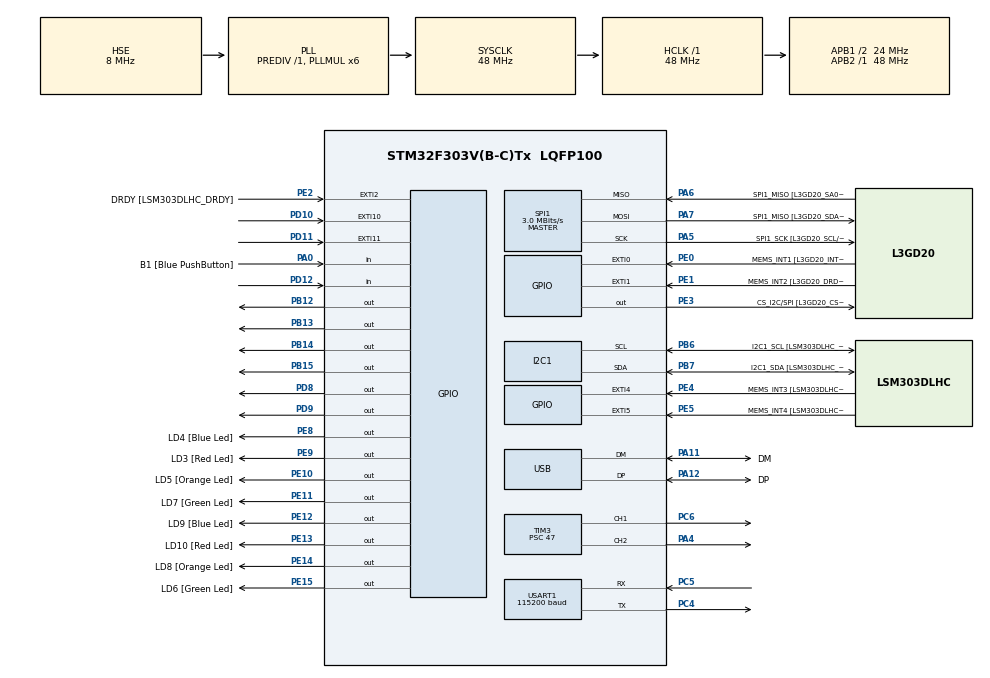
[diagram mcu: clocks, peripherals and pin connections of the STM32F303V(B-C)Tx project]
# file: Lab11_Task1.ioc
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I2C1.Timing=0x00201D2B
I2C1.Timing-I2C=0x2000090E
Mcu.Family=STM32F3
Mcu.Name=STM32F303V(B-C)Tx
Mcu.Package=LQFP100
NVIC.PriorityGroup=NVIC_PRIORITYGROUP_0
NVIC.TIM2_IRQn=true\:0\:0\:false\:false\:true\:true\:true\:true
NVIC.TIM3_IRQn=true\:0\:0\:false\:false\:true\:true\:true\:true
NVIC.USART1_IRQn=true\:0\:0\:false\:false\:true\:true\:true\:true
NVIC.USB_LP_CAN_RX0_IRQn=true\:0\:0\:false\:false\:true\:false\:true\:true
PA0.GPIO_Label=B1 [Blue PushButton]
PA0.Signal=GPIO_Input
PA11.GPIO_Label=DM
PA11.Mode=Device
PA11.Signal=USB_DM
PA12.GPIO_Label=DP
PA12.Mode=Device
PA12.Signal=USB_DP
PA13.GPIO_Label=SWDIO
PA13.Mode=Serial_Wire
PA13.Signal=SYS_JTMS-SWDIO
PA14.GPIO_Label=SWCLK
PA14.Mode=Serial_Wire
PA14.Signal=SYS_JTCK-SWCLK
PA4.Signal=S_TIM3_CH2
PA5.GPIO_Label=SPI1_SCK [L3GD20_SCL/SPC]
PA5.Mode=Full_Duplex_Master
PA5.Signal=SPI1_SCK
PA6.GPIO_Label=SPI1_MISO [L3GD20_SA0/SDO]
PA6.Mode=Full_Duplex_Master
PA6.Signal=SPI1_MISO
PA7.GPIO_Label=SPI1_MISO [L3GD20_SDA/SDI/SDO]
PA7.Mode=Full_Duplex_Master
PA7.Signal=SPI1_MOSI
PB12.Signal=GPIO_Output
PB13.Signal=GPIO_Output
PB14.Signal=GPIO_Output
PB15.Signal=GPIO_Output
PB3.GPIO_Label=SWO
PB3.Signal=SYS_JTDO-TRACESWO
PB6.GPIO_Label=I2C1_SCL [LSM303DLHC_SCL]
PB6.GPIO_Pu=GPIO_PULLUP
PB6.Mode=I2C
PB6.Signal=I2C1_SCL
PB7.GPIO_Label=I2C1_SDA [LSM303DLHC_SDA]
PB7.GPIO_Pu=GPIO_PULLUP
PB7.Mode=I2C
PB7.Signal=I2C1_SDA
PC14-OSC32_IN.GPIO_Label=OSC32_IN
PC14-OSC32_IN.Signal=RCC_OSC32_IN
PC15-OSC32_OUT.GPIO_Label=OSC32_OUT
PC15-OSC32_OUT.Signal=RCC_OSC32_OUT
PC4.Mode=Asynchronous
PC4.Signal=USART1_TX
PC5.Mode=Asynchronous
PC5.Signal=USART1_RX
PC6.Signal=S_TIM3_CH1
PD10.Signal=GPXTI10
PD11.Signal=GPXTI11
PD12.Signal=GPIO_Input
PD8.Signal=GPIO_Output
PD9.Signal=GPIO_Output
PE0.GPIO_Label=MEMS_INT1 [L3GD20_INT1]
PE0.GPIO_ModeDefaultEXTI=GPIO_MODE_EVT_RISING
PE0.Signal=GPXTI0
PE1.GPIO_Label=MEMS_INT2 [L3GD20_DRDY/INT2]
PE1.GPIO_ModeDefaultEXTI=GPIO_MODE_EVT_RISING
PE1.Signal=GPXTI1
PE10.GPIO_Label=LD5 [Orange Led]
PE10.Signal=GPIO_Output
PE11.GPIO_Label=LD7 [Green Led]
PE11.Signal=GPIO_Output
PE12.GPIO_Label=LD9 [Blue Led]
PE12.Signal=GPIO_Output
PE13.GPIO_Label=LD10 [Red Led]
PE13.Signal=GPIO_Output
PE14.GPIO_Label=LD8 [Orange Led]
PE14.Signal=GPIO_Output
PE15.GPIO_Label=LD6 [Green Led]
PE15.Signal=GPIO_Output
PE2.GPIO_Label=DRDY [LSM303DLHC_DRDY]
PE2.GPIO_ModeDefaultEXTI=GPIO_MODE_EVT_RISING
PE2.Signal=GPXTI2
PE3.GPIO_Label=CS_I2C/SPI [L3GD20_CS_I2C/SPI]
PE3.Signal=GPIO_Output
PE4.GPIO_Label=MEMS_INT3 [LSM303DLHC_INT1]
PE4.GPIO_ModeDefaultEXTI=GPIO_MODE_EVT_RISING
PE4.Signal=GPXTI4
PE5.GPIO_Label=MEMS_INT4 [LSM303DLHC_INT2]
PE5.GPIO_ModeDefaultEXTI=GPIO_MODE_EVT_RISING
PE5.Signal=GPXTI5
PE8.GPIO_Label=LD4 [Blue Led]
PE8.Signal=GPIO_Output
PE9.GPIO_Label=LD3 [Red Led]
PE9.Signal=GPIO_Output
PF0-OSC_IN.GPIO_Label=OSC_IN
PF0-OSC_IN.Mode=HSE-External-Clock-Source
PF0-OSC_IN.Signal=RCC_OSC_IN
PF1-OSC_OUT.GPIO_Label=OSC_OUT
PF1-OSC_OUT.Signal=RCC_OSC_OUT
ProjectManager.HeapSize=0x200
ProjectManager.StackSize=0x400
ProjectManager.TargetToolchain=CMake
RCC.AHBFreq_Value=48000000
RCC.APB1CLKDivider=RCC_HCLK_DIV2
RCC.APB1Freq_Value=24000000
RCC.APB1TimFreq_Value=48000000
RCC.APB2Freq_Value=48000000
RCC.APB2TimFreq_Value=48000000
RCC.CortexFreq_Value=48000000
RCC.HCLKFreq_Value=48000000
RCC.HSE_VALUE=8000000
RCC.HSI_VALUE=8000000
RCC.LSE_VALUE=32768
RCC.PLLMUL=RCC_PLL_MUL6
RCC.SYSCLKFreq_VALUE=48000000
RCC.SYSCLKSourceVirtual=RCC_SYSCLKSOURCE_PLLCLK
RCC.USBFreq_Value=48000000
SH.S_TIM3_CH1.0=TIM3_CH1,PWM Generation1 CH1
SH.S_TIM3_CH2.0=TIM3_CH2,PWM Generation2 CH2
SPI1.BaudRatePrescaler=SPI_BAUDRATEPRESCALER_16
SPI1.BaudRatePrescaler-Full_Duplex_Master=SPI_BAUDRATEPRESCALER_2
SPI1.CLKPhase=SPI_PHASE_2EDGE
SPI1.CLKPolarity=SPI_POLARITY_HIGH
SPI1.CalculateBaudRate=3.0 MBits/s
SPI1.CalculateBaudRate-Full_Duplex_Master=24.0 MBits/s
SPI1.DataSize=SPI_DATASIZE_8BIT
SPI1.Direction=SPI_DIRECTION_2LINES
SPI1.Mode=SPI_MODE_MASTER
SPI1.Mode-Full_Duplex_Master=SPI_MODE_MASTER
SPI1.VirtualType=VM_MASTER
TIM2.Period=4999
TIM2.Prescaler=47
TIM3.Channel-PWM\ Generation1\ CH1=TIM_CHANNEL_1
TIM3.Channel-PWM\ Generation2\ CH2=TIM_CHANNEL_2
TIM3.Period=999
TIM3.Prescaler=47
USART1.BaudRate=115200
USART1.VirtualMode-Asynchronous=VM_ASYNC
USB_DEVICE.CLASS_NAME_FS=CDC
USB_DEVICE.VirtualMode=Cdc
USB_DEVICE.VirtualModeFS=Cdc_FS
VP_TIM2_VS_ClockSourceINT.Mode=Internal
VP_TIM3_VS_ClockSourceINT.Mode=Internal
VP_USB_DEVICE_VS_USB_DEVICE_CDC_FS.Mode=CDC_FS
board=STM32F3DISCOVERY

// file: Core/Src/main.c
/* USER CODE BEGIN Header */
/**
  ******************************************************************************
  * @file    main.c
  * @brief   Self-Balancing Robot - top-level orchestrator
  *
  *          All control logic (IMU, filter, PID, motors, encoders) lives in
  *          control.c / control.h. This file handles peripheral init,
  *          interrupt dispatch, and UART logging only.
  *
  *          TIM2 = 200 Hz control loop ISR
  *          TIM3 = PWM for motors (CH1=PC6 left, CH2=PA4 right)
  *          PD10 / PD11 = encoder EXTI inputs
  ******************************************************************************
  */
/* USER CODE END Header */
#include "main.h"
#include "usb_device.h"
#include "math.h"
/* USER CODE BEGIN Includes */
#include "control.h"
#include <stdio.h>
#include <string.h>
/* USER CODE END Includes */

I2C_HandleTypeDef hi2c1;

SPI_HandleTypeDef hspi1;

TIM_HandleTypeDef htim2;
TIM_HandleTypeDef htim3;

UART_HandleTypeDef huart1;

/* USER CODE BEGIN PV */
volatile uint8_t display_flag = 0;
/* USER CODE END PV */

void SystemClock_Config(void);
static void MX_GPIO_Init(void);
static void MX_I2C1_Init(void);
static void MX_SPI1_Init(void);
static void MX_TIM3_Init(void);
static void MX_USART1_UART_Init(void);
static void MX_TIM2_Init(void);

/* USER CODE BEGIN 0 */

/* Peripheral handles (set in Control_Init) */
static I2C_HandleTypeDef *ctrl_hi2c = NULL;
static SPI_HandleTypeDef *ctrl_hspi = NULL;
static TIM_HandleTypeDef *ctrl_htim = NULL;

/* Filter and PID state (persist across ISR calls) */
static float tilt_angle = 0.0f;
static float integral   = 0.0f;
static float prev_error = 0.0f;

/* Encoder counters (volatile - modified in EXTI ISR) */
static volatile int32_t encoder_left  = 0;
static volatile int32_t encoder_right = 0;
static volatile int8_t  motor_dir     = 0;  // +1 fwd, -1 bwd, 0 stop

/* Latest telemetry snapshot for main loop */
static volatile Control_Telemetry_t telemetry = {0};

/* ============================================================
 *  IMU Drivers
 * ============================================================ */

/* Gyro register addresses */
#define GYRO_REG_CTRL1    0x20
#define GYRO_REG_OUT_Y_L  0x2A
#define GYRO_REG_OUT_Y_H  0x2B

/* Accel register addresses (LSM303DLHC at I2C addr 0x32 write) */
#define ACC_I2C_ADDR      0x32
#define ACC_REG_CTRL1     0x20
#define ACC_REG_OUT_X_L   0x28
#define ACC_AUTO_INC      0x80

static void Gyro_WriteReg(uint8_t reg, uint8_t data) {
    uint8_t tx[2] = { reg & 0x7F, data };  // bit 7 = 0 -> write
    HAL_GPIO_WritePin(GPIOE, GPIO_PIN_3, GPIO_PIN_RESET);  // CS low
    HAL_SPI_Transmit(ctrl_hspi, tx, 2, HAL_MAX_DELAY);
    HAL_GPIO_WritePin(GPIOE, GPIO_PIN_3, GPIO_PIN_SET);    // CS high
}

static uint8_t Gyro_ReadReg(uint8_t reg) {
    uint8_t tx = reg | 0x80;  // bit 7 = 1 -> read
    uint8_t rx;
    HAL_GPIO_WritePin(GPIOE, GPIO_PIN_3, GPIO_PIN_RESET);
    HAL_SPI_Transmit(ctrl_hspi, &tx, 1, HAL_MAX_DELAY);
    HAL_SPI_Receive (ctrl_hspi, &rx, 1, HAL_MAX_DELAY);
    HAL_GPIO_WritePin(GPIOE, GPIO_PIN_3, GPIO_PIN_SET);
    return rx;
}

/* ============================================================
 *  Motor Drivers (L298N-style H-bridge)
 *
 *  Left  motor: PWM on TIM3_CH1 (PC6), IN1=PB12, IN2=PB13
 *  Right motor: PWM on TIM3_CH2 (PA4), IN1=PB14, IN2=PB15
 * ============================================================ */

static void Motor_Left_Forward(uint16_t speed) {
    HAL_GPIO_WritePin(GPIOB, GPIO_PIN_12, GPIO_PIN_SET);
    HAL_GPIO_WritePin(GPIOB, GPIO_PIN_13, GPIO_PIN_RESET);
    __HAL_TIM_SET_COMPARE(ctrl_htim, TIM_CHANNEL_1, speed);
}

static void Motor_Left_Backward(uint16_t speed) {
    HAL_GPIO_WritePin(GPIOB, GPIO_PIN_12, GPIO_PIN_RESET);
    HAL_GPIO_WritePin(GPIOB, GPIO_PIN_13, GPIO_PIN_SET);
    __HAL_TIM_SET_COMPARE(ctrl_htim, TIM_CHANNEL_1, speed);
}

static void Motor_Left_Stop(void) {
    HAL_GPIO_WritePin(GPIOB, GPIO_PIN_12, GPIO_PIN_RESET);
    HAL_GPIO_WritePin(GPIOB, GPIO_PIN_13, GPIO_PIN_RESET);
    __HAL_TIM_SET_COMPARE(ctrl_htim, TIM_CHANNEL_1, 0);
}

static void Motor_Right_Forward(uint16_t speed) {
    HAL_GPIO_WritePin(GPIOB, GPIO_PIN_14, GPIO_PIN_SET);
    HAL_GPIO_WritePin(GPIOB, GPIO_PIN_15, GPIO_PIN_RESET);
    __HAL_TIM_SET_COMPARE(ctrl_htim, TIM_CHANNEL_2, speed);
}

static void Motor_Right_Backward(uint16_t speed) {
    HAL_GPIO_WritePin(GPIOB, GPIO_PIN_14, GPIO_PIN_RESET);
    HAL_GPIO_WritePin(GPIOB, GPIO_PIN_15, GPIO_PIN_SET);
    __HAL_TIM_SET_COMPARE(ctrl_htim, TIM_CHANNEL_2, speed);
}

static void Motor_Right_Stop(void) {
    HAL_GPIO_WritePin(GPIOB, GPIO_PIN_14, GPIO_PIN_RESET);
    HAL_GPIO_WritePin(GPIOB, GPIO_PIN_15, GPIO_PIN_RESET);
    __HAL_TIM_SET_COMPARE(ctrl_htim, TIM_CHANNEL_2, 0);
}

/* Drive both motors. Updates motor_dir for encoder pulse signing. */
static void Motors_Drive(float pid_output) {
    uint16_t pwm;

    if (pid_output > 0.0f) {
        if (pid_output > PID_OUT_MAX) pid_output = PID_OUT_MAX;
        pwm = (uint16_t)pid_output;
        Motor_Left_Forward(pwm);
        Motor_Right_Forward(pwm);
        motor_dir = +1;
    }
    else if (pid_output < 0.0f) {
        float abs_out = -pid_output;
        if (abs_out > PID_OUT_MAX) abs_out = PID_OUT_MAX;
        pwm = (uint16_t)abs_out;
        Motor_Left_Backward(pwm);
        Motor_Right_Backward(pwm);
        motor_dir = -1;
    }
    else {
        Motor_Left_Stop();
        Motor_Right_Stop();
        motor_dir = 0;
    }
}

/* ============================================================
 *  Public API
 * ============================================================ */

void Control_Init(I2C_HandleTypeDef *hi2c,
                  SPI_HandleTypeDef *hspi,
                  TIM_HandleTypeDef *htim)
{
    ctrl_hi2c = hi2c;
    ctrl_hspi = hspi;
    ctrl_htim = htim;

    /* --- Configure gyro: 200 Hz ODR, normal mode, X/Y/Z enabled --- */
    Gyro_WriteReg(GYRO_REG_CTRL1, 0x4F);

    /* --- Configure accel: 100 Hz ODR, normal mode, X/Y/Z enabled --- */
    uint8_t acc_init[2] = { ACC_REG_CTRL1, 0x57 };
    HAL_I2C_Master_Transmit(ctrl_hi2c, ACC_I2C_ADDR, acc_init, 2, 50);

    /* --- Start motor PWM channels at 0 --- */
    HAL_TIM_PWM_Start(ctrl_htim, TIM_CHANNEL_1);
    HAL_TIM_PWM_Start(ctrl_htim, TIM_CHANNEL_2);
    __HAL_TIM_SET_COMPARE(ctrl_htim, TIM_CHANNEL_1, 0);
    __HAL_TIM_SET_COMPARE(ctrl_htim, TIM_CHANNEL_2, 0);

    /* --- Reset internal state --- */
    tilt_angle    = 0.0f;
    integral      = 0.0f;
    prev_error    = 0.0f;
    encoder_left  = 0;
    encoder_right = 0;
    motor_dir     = 0;
}

void Control_RunStep(void) {

    /* --- 1. Read gyroscope (Y-axis = pitch rate) --- */
    uint8_t y_low  = Gyro_ReadReg(GYRO_REG_OUT_Y_L);
    uint8_t y_high = Gyro_ReadReg(GYRO_REG_OUT_Y_H);
    int16_t raw_y  = (int16_t)((y_high << 8) | y_low);
    float gyro_y_dps = (float)raw_y * 0.00875f;   // 245 dps full scale

    /* --- 2. Read accelerometer (X and Z for pitch) --- */
    uint8_t reg = ACC_REG_OUT_X_L | ACC_AUTO_INC;
    uint8_t buf[6] = {0};
    HAL_I2C_Master_Transmit(ctrl_hi2c, ACC_I2C_ADDR, &reg, 1, 10);
    HAL_I2C_Master_Receive (ctrl_hi2c, ACC_I2C_ADDR | 0x01, buf, 6, 10);
    int16_t acc_x = (int16_t)((buf[1] << 8) | buf[0]);
    int16_t acc_z = (int16_t)((buf[5] << 8) | buf[4]);
    float acc_angle_deg = atan2f((float)acc_x, (float)acc_z) * (180.0f / 3.14159f);

    /* --- 3. Complementary filter: fuse gyro + accel --- */
    tilt_angle = COMP_GYRO_WEIGHT * (tilt_angle + gyro_y_dps * DT)
               + COMP_ACC_WEIGHT  * acc_angle_deg;

    /* --- 4. Encoder position feedback --- */
    float position = (float)(encoder_left + encoder_right) * 0.5f;

    float position_bias = POSITION_KP * position;
    if (position_bias > POSITION_BIAS_MAX) position_bias = POSITION_BIAS_MAX;
    if (position_bias < POSITION_BIAS_MIN) position_bias = POSITION_BIAS_MIN;

    /* If robot rolled forward (+ position), bias setpoint to lean back */
    float effective_setpoint = SETPOINT_BASE - position_bias;

    /* --- 5. PID controller --- */
    float error = tilt_angle - effective_setpoint;

    float p_term = KP * error;

    integral += KI * error * DT;
    if (integral > INTEGRAL_MAX) integral = INTEGRAL_MAX;
    if (integral < INTEGRAL_MIN) integral = INTEGRAL_MIN;

    float derivative = (error - prev_error) / DT;
    float d_term = KD * derivative;
    prev_error = error;

    float pid_output = p_term + integral + d_term;
    if (pid_output > PID_OUT_MAX) pid_output = PID_OUT_MAX;
    if (pid_output < PID_OUT_MIN) pid_output = PID_OUT_MIN;

    /* --- 6. Drive motors (also updates motor_dir for encoder ISR) --- */
    Motors_Drive(pid_output);

    /* --- 7. Update telemetry snapshot --- */
    telemetry.angle              = tilt_angle;
    telemetry.acc_angle          = acc_angle_deg;
    telemetry.gyro_rate          = gyro_y_dps;
    telemetry.effective_setpoint = effective_setpoint;
    telemetry.position           = position;
    telemetry.pid_output         = pid_output;
    telemetry.error              = error;
}

void Control_GetTelemetry(Control_Telemetry_t *out) {
    *out = *(Control_Telemetry_t *)&telemetry;
}

void Control_ResetEncoders(void) {
    encoder_left  = 0;
    encoder_right = 0;
}

void Control_OnEncoderPulse(uint16_t GPIO_Pin) {
    if (GPIO_Pin == GPIO_PIN_10) {
        encoder_left += motor_dir;
    }
    else if (GPIO_Pin == GPIO_PIN_11) {
        encoder_right += motor_dir;
    }
}

/* USER CODE END 0 */

int main(void)
{

  /* MCU Configuration--------------------------------------------------------*/

  /* Reset of all peripherals, Initializes the Flash interface and the Systick. */
  HAL_Init();

  /* Configure the system clock */
  SystemClock_Config();

  /* Initialize all configured peripherals */
  MX_GPIO_Init();
  MX_I2C1_Init();
  MX_SPI1_Init();
  MX_TIM3_Init();
  MX_USART1_UART_Init();
  MX_USB_DEVICE_Init();
  MX_TIM2_Init();
  /* USER CODE BEGIN 2 */

  /* Initialize all control subsystems */
  Control_Init(&hi2c1, &hspi1, &htim3);

  /* Print startup banner */
  char *msg = "\r\n=== Self-Balancing Robot ===\r\n"
              "Format: angle, setpoint, position, pid_out\r\n\r\n";
  HAL_UART_Transmit(&huart1, (uint8_t*)msg, strlen(msg), HAL_MAX_DELAY);

  /* Reset encoder counts (robot is at "home") */
  Control_ResetEncoders();

  /* Start the 200 Hz control ISR */
  HAL_TIM_Base_Start_IT(&htim2);

  HAL_Delay(100);

  /* USER CODE END 2 */

  /* Infinite loop */
  /* USER CODE BEGIN WHILE */
  while (1)
  {
      if (display_flag) {
          display_flag = 0;

          Control_Telemetry_t t;
          Control_GetTelemetry(&t);

          char buf[100];
          int len = sprintf(buf, "%.2f,%.2f,%.2f,%.2f\r\n",
                            t.angle, t.effective_setpoint,
                            t.position, t.pid_output);
          HAL_UART_Transmit(&huart1, (uint8_t*)buf, len, HAL_MAX_DELAY);
      }
  }
    /* USER CODE END WHILE */

}

void SystemClock_Config(void)
{
  RCC_OscInitTypeDef RCC_OscInitStruct = {0};
  RCC_ClkInitTypeDef RCC_ClkInitStruct = {0};
  RCC_PeriphCLKInitTypeDef PeriphClkInit = {0};

  /** Initializes the RCC Oscillators according to the specified parameters
  * in the RCC_OscInitTypeDef structure.
  */
  RCC_OscInitStruct.OscillatorType = RCC_OSCILLATORTYPE_HSI|RCC_OSCILLATORTYPE_HSE;
  RCC_OscInitStruct.HSEState = RCC_HSE_BYPASS;
  RCC_OscInitStruct.HSEPredivValue = RCC_HSE_PREDIV_DIV1;
  RCC_OscInitStruct.HSIState = RCC_HSI_ON;
  RCC_OscInitStruct.HSICalibrationValue = RCC_HSICALIBRATION_DEFAULT;
  RCC_OscInitStruct.PLL.PLLState = RCC_PLL_ON;
  RCC_OscInitStruct.PLL.PLLSource = RCC_PLLSOURCE_HSE;
  RCC_OscInitStruct.PLL.PLLMUL = RCC_PLL_MUL6;
  if (HAL_RCC_OscConfig(&RCC_OscInitStruct) != HAL_OK)
  {
    Error_Handler();
  }

  /** Initializes the CPU, AHB and APB buses clocks
  */
  RCC_ClkInitStruct.ClockType = RCC_CLOCKTYPE_HCLK|RCC_CLOCKTYPE_SYSCLK
                              |RCC_CLOCKTYPE_PCLK1|RCC_CLOCKTYPE_PCLK2;
  RCC_ClkInitStruct.SYSCLKSource = RCC_SYSCLKSOURCE_PLLCLK;
  RCC_ClkInitStruct.AHBCLKDivider = RCC_SYSCLK_DIV1;
  RCC_ClkInitStruct.APB1CLKDivider = RCC_HCLK_DIV2;
  RCC_ClkInitStruct.APB2CLKDivider = RCC_HCLK_DIV1;

  if (HAL_RCC_ClockConfig(&RCC_ClkInitStruct, FLASH_LATENCY_1) != HAL_OK)
  {
    Error_Handler();
  }
  PeriphClkInit.PeriphClockSelection = RCC_PERIPHCLK_USB|RCC_PERIPHCLK_USART1
                              |RCC_PERIPHCLK_I2C1;
  PeriphClkInit.Usart1ClockSelection = RCC_USART1CLKSOURCE_PCLK2;
  PeriphClkInit.I2c1ClockSelection = RCC_I2C1CLKSOURCE_HSI;
  PeriphClkInit.USBClockSelection = RCC_USBCLKSOURCE_PLL;
  if (HAL_RCCEx_PeriphCLKConfig(&PeriphClkInit) != HAL_OK)
  {
    Error_Handler();
  }
}

static void MX_I2C1_Init(void)
{

  hi2c1.Instance = I2C1;
  hi2c1.Init.Timing = 0x00201D2B;
  hi2c1.Init.OwnAddress1 = 0;
  hi2c1.Init.AddressingMode = I2C_ADDRESSINGMODE_7BIT;
  hi2c1.Init.DualAddressMode = I2C_DUALADDRESS_DISABLE;
  hi2c1.Init.OwnAddress2 = 0;
  hi2c1.Init.OwnAddress2Masks = I2C_OA2_NOMASK;
  hi2c1.Init.GeneralCallMode = I2C_GENERALCALL_DISABLE;
  hi2c1.Init.NoStretchMode = I2C_NOSTRETCH_DISABLE;
  if (HAL_I2C_Init(&hi2c1) != HAL_OK)
  {
    Error_Handler();
  }

  /** Configure Analogue filter
  */
  if (HAL_I2CEx_ConfigAnalogFilter(&hi2c1, I2C_ANALOGFILTER_ENABLE) != HAL_OK)
  {
    Error_Handler();
  }

  /** Configure Digital filter
  */
  if (HAL_I2CEx_ConfigDigitalFilter(&hi2c1, 0) != HAL_OK)
  {
    Error_Handler();
  }

}

static void MX_SPI1_Init(void)
{

  /* SPI1 parameter configuration*/
  hspi1.Instance = SPI1;
  hspi1.Init.Mode = SPI_MODE_MASTER;
  hspi1.Init.Direction = SPI_DIRECTION_2LINES;
  hspi1.Init.DataSize = SPI_DATASIZE_8BIT;
  hspi1.Init.CLKPolarity = SPI_POLARITY_HIGH;
  hspi1.Init.CLKPhase = SPI_PHASE_2EDGE;
  hspi1.Init.NSS = SPI_NSS_SOFT;
  hspi1.Init.BaudRatePrescaler = SPI_BAUDRATEPRESCALER_16;
  hspi1.Init.FirstBit = SPI_FIRSTBIT_MSB;
  hspi1.Init.TIMode = SPI_TIMODE_DISABLE;
  hspi1.Init.CRCCalculation = SPI_CRCCALCULATION_DISABLE;
  hspi1.Init.CRCPolynomial = 7;
  hspi1.Init.CRCLength = SPI_CRC_LENGTH_DATASIZE;
  hspi1.Init.NSSPMode = SPI_NSS_PULSE_DISABLE;
  if (HAL_SPI_Init(&hspi1) != HAL_OK)
  {
    Error_Handler();
  }

}

static void MX_TIM2_Init(void)
{

  TIM_ClockConfigTypeDef sClockSourceConfig = {0};
  TIM_MasterConfigTypeDef sMasterConfig = {0};

  htim2.Instance = TIM2;
  htim2.Init.Prescaler = 47;
  htim2.Init.CounterMode = TIM_COUNTERMODE_UP;
  htim2.Init.Period = 4999;
  htim2.Init.ClockDivision = TIM_CLOCKDIVISION_DIV1;
  htim2.Init.AutoReloadPreload = TIM_AUTORELOAD_PRELOAD_DISABLE;
  if (HAL_TIM_Base_Init(&htim2) != HAL_OK)
  {
    Error_Handler();
  }
  sClockSourceConfig.ClockSource = TIM_CLOCKSOURCE_INTERNAL;
  if (HAL_TIM_ConfigClockSource(&htim2, &sClockSourceConfig) != HAL_OK)
  {
    Error_Handler();
  }
  sMasterConfig.MasterOutputTrigger = TIM_TRGO_RESET;
  sMasterConfig.MasterSlaveMode = TIM_MASTERSLAVEMODE_DISABLE;
  if (HAL_TIMEx_MasterConfigSynchronization(&htim2, &sMasterConfig) != HAL_OK)
  {
    Error_Handler();
  }

}

static void MX_TIM3_Init(void)
{

  TIM_ClockConfigTypeDef sClockSourceConfig = {0};
  TIM_MasterConfigTypeDef sMasterConfig = {0};
  TIM_OC_InitTypeDef sConfigOC = {0};

  htim3.Instance = TIM3;
  htim3.Init.Prescaler = 47;
  htim3.Init.CounterMode = TIM_COUNTERMODE_UP;
  htim3.Init.Period = 999;
  htim3.Init.ClockDivision = TIM_CLOCKDIVISION_DIV1;
  htim3.Init.AutoReloadPreload = TIM_AUTORELOAD_PRELOAD_DISABLE;
  if (HAL_TIM_Base_Init(&htim3) != HAL_OK)
  {
    Error_Handler();
  }
  sClockSourceConfig.ClockSource = TIM_CLOCKSOURCE_INTERNAL;
  if (HAL_TIM_ConfigClockSource(&htim3, &sClockSourceConfig) != HAL_OK)
  {
    Error_Handler();
  }
  if (HAL_TIM_PWM_Init(&htim3) != HAL_OK)
  {
    Error_Handler();
  }
  sMasterConfig.MasterOutputTrigger = TIM_TRGO_RESET;
  sMasterConfig.MasterSlaveMode = TIM_MASTERSLAVEMODE_DISABLE;
  if (HAL_TIMEx_MasterConfigSynchronization(&htim3, &sMasterConfig) != HAL_OK)
  {
    Error_Handler();
  }
  sConfigOC.OCMode = TIM_OCMODE_PWM1;
  sConfigOC.Pulse = 0;
  sConfigOC.OCPolarity = TIM_OCPOLARITY_HIGH;
  sConfigOC.OCFastMode = TIM_OCFAST_DISABLE;
  if (HAL_TIM_PWM_ConfigChannel(&htim3, &sConfigOC, TIM_CHANNEL_1) != HAL_OK)
  {
    Error_Handler();
  }
  if (HAL_TIM_PWM_ConfigChannel(&htim3, &sConfigOC, TIM_CHANNEL_2) != HAL_OK)
  {
    Error_Handler();
  }
  HAL_TIM_MspPostInit(&htim3);

}

static void MX_USART1_UART_Init(void)
{

  huart1.Instance = USART1;
  huart1.Init.BaudRate = 115200;
  huart1.Init.WordLength = UART_WORDLENGTH_8B;
  huart1.Init.StopBits = UART_STOPBITS_1;
  huart1.Init.Parity = UART_PARITY_NONE;
  huart1.Init.Mode = UART_MODE_TX_RX;
  huart1.Init.HwFlowCtl = UART_HWCONTROL_NONE;
  huart1.Init.OverSampling = UART_OVERSAMPLING_16;
  huart1.Init.OneBitSampling = UART_ONE_BIT_SAMPLE_DISABLE;
  huart1.AdvancedInit.AdvFeatureInit = UART_ADVFEATURE_NO_INIT;
  if (HAL_UART_Init(&huart1) != HAL_OK)
  {
    Error_Handler();
  }

}

static void MX_GPIO_Init(void)
{
  GPIO_InitTypeDef GPIO_InitStruct = {0};

  /* GPIO Ports Clock Enable */
  __HAL_RCC_GPIOE_CLK_ENABLE();
  __HAL_RCC_GPIOC_CLK_ENABLE();
  __HAL_RCC_GPIOF_CLK_ENABLE();
  __HAL_RCC_GPIOA_CLK_ENABLE();
  __HAL_RCC_GPIOB_CLK_ENABLE();
  __HAL_RCC_GPIOD_CLK_ENABLE();

  /*Configure GPIO pin Output Level */
  HAL_GPIO_WritePin(GPIOE, CS_I2C_SPI_Pin|LD4_Pin|LD3_Pin|LD5_Pin
                          |LD7_Pin|LD9_Pin|LD10_Pin|LD8_Pin
                          |LD6_Pin, GPIO_PIN_RESET);

  /*Configure GPIO pin Output Level */
  HAL_GPIO_WritePin(GPIOB, GPIO_PIN_12|GPIO_PIN_13|GPIO_PIN_14|GPIO_PIN_15, GPIO_PIN_RESET);

  /*Configure GPIO pin Output Level */
  HAL_GPIO_WritePin(GPIOD, GPIO_PIN_8|GPIO_PIN_9, GPIO_PIN_RESET);

  /*Configure GPIO pins : DRDY_Pin MEMS_INT3_Pin MEMS_INT4_Pin MEMS_INT1_Pin
                           MEMS_INT2_Pin */
  GPIO_InitStruct.Pin = DRDY_Pin|MEMS_INT3_Pin|MEMS_INT4_Pin|MEMS_INT1_Pin
                          |MEMS_INT2_Pin;
  GPIO_InitStruct.Mode = GPIO_MODE_EVT_RISING;
  GPIO_InitStruct.Pull = GPIO_NOPULL;
  HAL_GPIO_Init(GPIOE, &GPIO_InitStruct);

  /*Configure GPIO pins : CS_I2C_SPI_Pin LD4_Pin LD3_Pin LD5_Pin
                           LD7_Pin LD9_Pin LD10_Pin LD8_Pin
                           LD6_Pin */
  GPIO_InitStruct.Pin = CS_I2C_SPI_Pin|LD4_Pin|LD3_Pin|LD5_Pin
                          |LD7_Pin|LD9_Pin|LD10_Pin|LD8_Pin
                          |LD6_Pin;
  GPIO_InitStruct.Mode = GPIO_MODE_OUTPUT_PP;
  GPIO_InitStruct.Pull = GPIO_NOPULL;
  GPIO_InitStruct.Speed = GPIO_SPEED_FREQ_LOW;
  HAL_GPIO_Init(GPIOE, &GPIO_InitStruct);

  /*Configure GPIO pin : B1_Pin */
  GPIO_InitStruct.Pin = B1_Pin;
  GPIO_InitStruct.Mode = GPIO_MODE_INPUT;
  GPIO_InitStruct.Pull = GPIO_NOPULL;
  HAL_GPIO_Init(B1_GPIO_Port, &GPIO_InitStruct);

  /*Configure GPIO pins : PB12 PB13 PB14 PB15 */
  GPIO_InitStruct.Pin = GPIO_PIN_12|GPIO_PIN_13|GPIO_PIN_14|GPIO_PIN_15;
  GPIO_InitStruct.Mode = GPIO_MODE_OUTPUT_PP;
  GPIO_InitStruct.Pull = GPIO_NOPULL;
  GPIO_InitStruct.Speed = GPIO_SPEED_FREQ_LOW;
  HAL_GPIO_Init(GPIOB, &GPIO_InitStruct);

  /*Configure GPIO pins : PD8 PD9 */
  GPIO_InitStruct.Pin = GPIO_PIN_8|GPIO_PIN_9;
  GPIO_InitStruct.Mode = GPIO_MODE_OUTPUT_PP;
  GPIO_InitStruct.Pull = GPIO_NOPULL;
  GPIO_InitStruct.Speed = GPIO_SPEED_FREQ_LOW;
  HAL_GPIO_Init(GPIOD, &GPIO_InitStruct);

  /*Configure GPIO pins : PD10 PD11 */
  GPIO_InitStruct.Pin = GPIO_PIN_10|GPIO_PIN_11;
  GPIO_InitStruct.Mode = GPIO_MODE_IT_RISING;
  GPIO_InitStruct.Pull = GPIO_NOPULL;
  HAL_GPIO_Init(GPIOD, &GPIO_InitStruct);

  /*Configure GPIO pin : PD12 */
  GPIO_InitStruct.Pin = GPIO_PIN_12;
  GPIO_InitStruct.Mode = GPIO_MODE_INPUT;
  GPIO_InitStruct.Pull = GPIO_NOPULL;
  HAL_GPIO_Init(GPIOD, &GPIO_InitStruct);

}

/* USER CODE BEGIN 4 */

/* ============================================================
 *  TIM2 ISR - 200 Hz control loop
 * ============================================================ */
void HAL_TIM_PeriodElapsedCallback(TIM_HandleTypeDef *htim)
{
    if (htim->Instance != TIM2) return;

    static uint8_t uart_div = 0;

    /* Run one full balance cycle (sensors -> filter -> PID -> motors) */
    Control_RunStep();

    /* Throttle UART output to ~10 Hz (every 20th tick) */
    if (++uart_div >= 20) {
        uart_div = 0;
        display_flag = 1;
    }
}

/* ============================================================
 *  EXTI ISR - Encoder pulse handler
 *  Called by HAL when PD10 or PD11 sees a rising edge.
 * ============================================================ */
void HAL_GPIO_EXTI_Callback(uint16_t GPIO_Pin)
{
    Control_OnEncoderPulse(GPIO_Pin);
}

/* USER CODE END 4 */

void Error_Handler(void)
{
  __disable_irq();
  while (1)
  {
  }
}
